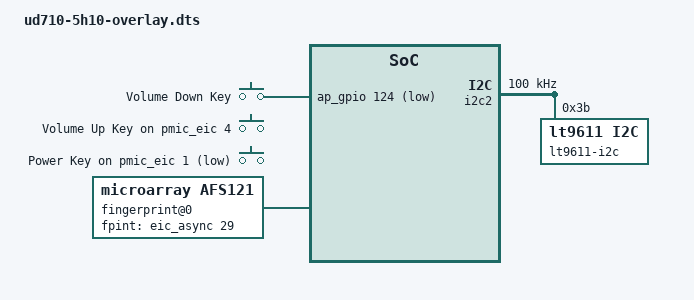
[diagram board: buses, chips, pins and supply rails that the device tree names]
/dts-v1/;
/plugin/;

#include <dt-bindings/input/input.h>
#include <dt-bindings/gpio/gpio.h>

/ {
	fragment {
		target-path = "/";
		__overlay__ {

			gpio-keys {
				compatible = "gpio-keys";

				key-volumedown {
					label = "Volume Down Key";
					linux,code = <KEY_VOLUMEDOWN>;
					gpios = <&ap_gpio 124 GPIO_ACTIVE_LOW>;
					debounce-interval = <2>;
					wakeup-source;
				};

				key-volumeup {
					label = "Volume Up Key";
					linux,code = <KEY_VOLUMEUP>;
					gpios = <&pmic_eic 4 GPIO_ACTIVE_HIGH>;
					debounce-interval = <2>;
					wakeup-source;
				};

				key-power {
					label = "Power Key";
					linux,code = <KEY_POWER>;
					gpios = <&pmic_eic 1 GPIO_ACTIVE_LOW>;
					debounce-interval = <2>;
					wakeup-source;
				};
			};

			fingerprint@0 {
				compatible = "microarray,afs121";
				fpint-gpios = <&eic_async 29 0>;
			};
		};
	};
};

&i2c2 {
	status = "okay";
	clock-frequency = <100000>;
	lt9611-i2c@3b {
		compatible = "lt9611,i2c";
		test-node = "0937";
		reg = <0x3b>;
	};
};

&ddr_dfs {
	sprd-scene = "boost", "lcdon", "lcdoff", "camlow",
		"camhigh", "camveryhigh";
	sprd-freq = <1333 667 256 384 667 1333>;
};
